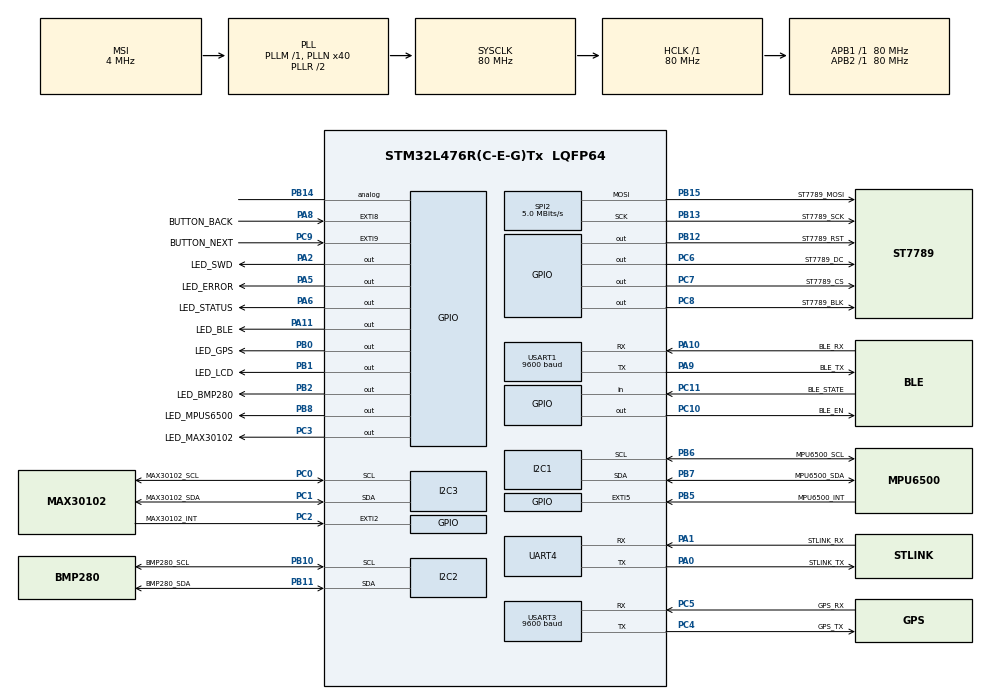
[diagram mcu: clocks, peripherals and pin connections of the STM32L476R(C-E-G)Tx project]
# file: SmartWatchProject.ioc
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Dma.Request0=USART3_RX
Dma.Request1=USART3_TX
Dma.Request2=USART1_RX
Dma.Request3=USART1_TX
Dma.Request4=SPI2_TX
Dma.SPI2_TX.4.Direction=DMA_MEMORY_TO_PERIPH
Dma.SPI2_TX.4.Instance=DMA1_Channel5
Dma.SPI2_TX.4.MemDataAlignment=DMA_MDATAALIGN_BYTE
Dma.SPI2_TX.4.MemInc=DMA_MINC_ENABLE
Dma.SPI2_TX.4.Mode=DMA_NORMAL
Dma.SPI2_TX.4.PeriphDataAlignment=DMA_PDATAALIGN_BYTE
Dma.SPI2_TX.4.PeriphInc=DMA_PINC_DISABLE
Dma.SPI2_TX.4.Priority=DMA_PRIORITY_LOW
Dma.USART1_RX.2.Direction=DMA_PERIPH_TO_MEMORY
Dma.USART1_RX.2.Instance=DMA2_Channel7
Dma.USART1_RX.2.MemDataAlignment=DMA_MDATAALIGN_BYTE
Dma.USART1_RX.2.MemInc=DMA_MINC_ENABLE
Dma.USART1_RX.2.Mode=DMA_CIRCULAR
Dma.USART1_RX.2.PeriphDataAlignment=DMA_PDATAALIGN_BYTE
Dma.USART1_RX.2.PeriphInc=DMA_PINC_DISABLE
Dma.USART1_RX.2.Priority=DMA_PRIORITY_LOW
Dma.USART1_TX.3.Direction=DMA_MEMORY_TO_PERIPH
Dma.USART1_TX.3.Instance=DMA1_Channel4
Dma.USART1_TX.3.MemDataAlignment=DMA_MDATAALIGN_BYTE
Dma.USART1_TX.3.MemInc=DMA_MINC_ENABLE
Dma.USART1_TX.3.Mode=DMA_NORMAL
Dma.USART1_TX.3.PeriphDataAlignment=DMA_PDATAALIGN_BYTE
Dma.USART1_TX.3.PeriphInc=DMA_PINC_DISABLE
Dma.USART1_TX.3.Priority=DMA_PRIORITY_LOW
Dma.USART3_RX.0.Direction=DMA_PERIPH_TO_MEMORY
Dma.USART3_RX.0.Instance=DMA1_Channel3
Dma.USART3_RX.0.MemDataAlignment=DMA_MDATAALIGN_BYTE
Dma.USART3_RX.0.MemInc=DMA_MINC_ENABLE
Dma.USART3_RX.0.Mode=DMA_NORMAL
Dma.USART3_RX.0.PeriphDataAlignment=DMA_PDATAALIGN_BYTE
Dma.USART3_RX.0.PeriphInc=DMA_PINC_DISABLE
Dma.USART3_RX.0.Priority=DMA_PRIORITY_LOW
Dma.USART3_TX.1.Direction=DMA_MEMORY_TO_PERIPH
Dma.USART3_TX.1.Instance=DMA1_Channel2
Dma.USART3_TX.1.MemDataAlignment=DMA_MDATAALIGN_BYTE
Dma.USART3_TX.1.MemInc=DMA_MINC_ENABLE
Dma.USART3_TX.1.Mode=DMA_NORMAL
Dma.USART3_TX.1.PeriphDataAlignment=DMA_PDATAALIGN_BYTE
Dma.USART3_TX.1.PeriphInc=DMA_PINC_DISABLE
Dma.USART3_TX.1.Priority=DMA_PRIORITY_LOW
I2C1.Timing=0x10D19CE4
I2C2.Timing=0x10D19CE4
I2C3.Timing=0x10D19CE4
Mcu.Family=STM32L4
Mcu.Name=STM32L476R(C-E-G)Tx
Mcu.Package=LQFP64
NVIC.DMA1_Channel2_IRQn=true\:0\:0\:false\:false\:true\:false\:true\:true
NVIC.DMA1_Channel3_IRQn=true\:0\:0\:false\:false\:true\:false\:true\:true
NVIC.DMA1_Channel4_IRQn=true\:0\:0\:false\:false\:true\:false\:true\:true
NVIC.DMA1_Channel5_IRQn=true\:0\:0\:false\:false\:true\:false\:true\:true
NVIC.DMA2_Channel7_IRQn=true\:0\:0\:false\:false\:true\:false\:true\:true
NVIC.EXTI2_IRQn=true\:0\:0\:false\:false\:true\:true\:true\:true
NVIC.EXTI9_5_IRQn=true\:0\:0\:false\:false\:true\:true\:true\:true
NVIC.PriorityGroup=NVIC_PRIORITYGROUP_4
NVIC.SPI2_IRQn=true\:0\:0\:false\:false\:true\:true\:true\:true
NVIC.USART1_IRQn=true\:0\:0\:false\:false\:true\:true\:true\:true
NVIC.USART3_IRQn=true\:0\:0\:false\:false\:true\:true\:true\:true
PA0.GPIO_Label=STLINK_TX
PA0.Mode=Asynchronous
PA0.Signal=UART4_TX
PA1.GPIO_Label=STLINK_RX
PA1.Mode=Asynchronous
PA1.Signal=UART4_RX
PA10.GPIO_Label=BLE_RX
PA10.Mode=Asynchronous
PA10.Signal=USART1_RX
PA11.GPIO_Label=LED_BLE
PA11.PinState=GPIO_PIN_RESET
PA11.Signal=GPIO_Output
PA13\ (JTMS-SWDIO).Mode=Serial_Wire
PA13\ (JTMS-SWDIO).Signal=SYS_JTMS-SWDIO
PA14\ (JTCK-SWCLK).Mode=Serial_Wire
PA14\ (JTCK-SWCLK).Signal=SYS_JTCK-SWCLK
PA2.GPIO_Label=LED_SWD
PA2.PinState=GPIO_PIN_RESET
PA2.Signal=GPIO_Output
PA5.GPIO_Label=LED_ERROR
PA5.PinState=GPIO_PIN_RESET
PA5.Signal=GPIO_Output
PA6.GPIO_Label=LED_STATUS
PA6.PinState=GPIO_PIN_RESET
PA6.Signal=GPIO_Output
PA8.GPIO_Label=BUTTON_BACK
PA8.Signal=GPXTI8
PA9.GPIO_Label=BLE_TX
PA9.Mode=Asynchronous
PA9.Signal=USART1_TX
PB0.GPIO_Label=LED_GPS
PB0.PinState=GPIO_PIN_RESET
PB0.Signal=GPIO_Output
PB1.GPIO_Label=LED_LCD
PB1.PinState=GPIO_PIN_RESET
PB1.Signal=GPIO_Output
PB10.GPIO_Label=BMP280_SCL
PB10.Mode=I2C
PB10.Signal=I2C2_SCL
PB11.GPIO_Label=BMP280_SDA
PB11.Mode=I2C
PB11.Signal=I2C2_SDA
PB12.GPIO_Label=ST7789_RST
PB12.Signal=GPIO_Output
PB13.GPIO_Label=ST7789_SCK
PB13.Mode=TX_Only_Simplex_Unidirect_Master
PB13.Signal=SPI2_SCK
PB14.Signal=GPIO_Analog
PB15.GPIO_Label=ST7789_MOSI
PB15.Mode=TX_Only_Simplex_Unidirect_Master
PB15.Signal=SPI2_MOSI
PB2.GPIO_Label=LED_BMP280
PB2.PinState=GPIO_PIN_RESET
PB2.Signal=GPIO_Output
PB5.GPIO_Label=MPU6500_INT
PB5.Signal=GPXTI5
PB6.GPIO_Label=MPU6500_SCL
PB6.Mode=I2C
PB6.Signal=I2C1_SCL
PB7.GPIO_Label=MPU6500_SDA
PB7.Mode=I2C
PB7.Signal=I2C1_SDA
PB8.GPIO_Label=LED_MPUS6500
PB8.PinState=GPIO_PIN_RESET
PB8.Signal=GPIO_Output
PC0.GPIO_Label=MAX30102_SCL
PC0.Mode=I2C
PC0.Signal=I2C3_SCL
PC1.GPIO_Label=MAX30102_SDA
PC1.Mode=I2C
PC1.Signal=I2C3_SDA
PC10.GPIO_Label=BLE_EN
PC10.GPIO_ModeDefaultOutputPP=GPIO_MODE_OUTPUT_PP
PC10.PinState=GPIO_PIN_RESET
PC10.Signal=GPIO_Output
PC11.GPIO_Label=BLE_STATE
PC11.Signal=GPIO_Input
PC2.GPIO_Label=MAX30102_INT
PC2.GPIO_ModeDefaultEXTI=GPIO_MODE_IT_FALLING
PC2.GPIO_PuPd=GPIO_PULLUP
PC2.Signal=GPXTI2
PC3.GPIO_Label=LED_MAX30102
PC3.PinState=GPIO_PIN_RESET
PC3.Signal=GPIO_Output
PC4.GPIO_Label=GPS_TX
PC4.Mode=Asynchronous
PC4.Signal=USART3_TX
PC5.GPIO_Label=GPS_RX
PC5.Mode=Asynchronous
PC5.Signal=USART3_RX
PC6.GPIO_Label=ST7789_DC
PC6.GPIO_Speed=GPIO_SPEED_FREQ_HIGH
PC6.Signal=GPIO_Output
PC7.GPIO_Label=ST7789_CS
PC7.Signal=GPIO_Output
PC8.GPIO_Label=ST7789_BLK
PC8.PinState=GPIO_PIN_RESET
PC8.Signal=GPIO_Output
PC9.GPIO_Label=BUTTON_NEXT
PC9.Signal=GPXTI9
ProjectManager.HeapSize=0x200
ProjectManager.StackSize=0x400
ProjectManager.TargetToolchain=STM32CubeIDE
RCC.ADCFreq_Value=16000000
RCC.AHBFreq_Value=80000000
RCC.APB1Freq_Value=80000000
RCC.APB1TimFreq_Value=80000000
RCC.APB2Freq_Value=80000000
RCC.APB2TimFreq_Value=80000000
RCC.CortexFreq_Value=80000000
RCC.HCLKFreq_Value=80000000
RCC.HSE_VALUE=8000000
RCC.HSI_VALUE=16000000
RCC.LSE_VALUE=32768
RCC.MSI_VALUE=4000000
RCC.PLLN=40
RCC.SYSCLKFreq_VALUE=80000000
RCC.SYSCLKSource=RCC_SYSCLKSOURCE_PLLCLK
RCC.USBFreq_Value=16000000
RCC.VCOOutputFreq_Value=160000000
SPI2.BaudRatePrescaler=SPI_BAUDRATEPRESCALER_16
SPI2.CLKPhase=SPI_PHASE_2EDGE
SPI2.CLKPolarity=SPI_POLARITY_HIGH
SPI2.CalculateBaudRate=5.0 MBits/s
SPI2.DataSize=SPI_DATASIZE_8BIT
SPI2.Direction=SPI_DIRECTION_2LINES
SPI2.Mode=SPI_MODE_MASTER
SPI2.VirtualType=VM_MASTER
USART1.BaudRate=9600
USART1.SwapParam=ADVFEATURE_SWAP_ENABLE
USART1.VirtualMode-Asynchronous=VM_ASYNC
USART3.BaudRate=9600
USART3.SwapParam=ADVFEATURE_SWAP_ENABLE
USART3.VirtualMode-Asynchronous=VM_ASYNC
board=custom

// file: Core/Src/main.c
/* USER CODE BEGIN Header */
/**
  ******************************************************************************
  * @file           : main.c
  * @brief          : Main program body
  ******************************************************************************
  * @attention
  *
  * Copyright (c) 2025 STMicroelectronics.
  * All rights reserved.
  *
  * This software is licensed under terms that can be found in the LICENSE file
  * in the root directory of this software component.
  * If no LICENSE file comes with this software, it is provided AS-IS.
  *
  ******************************************************************************
  */
/* USER CODE END Header */
#include "main.h"
#include "dma.h"
#include "i2c.h"
#include "spi.h"
#include "usart.h"
#include "gpio.h"

/* USER CODE BEGIN Includes */
#include "stm32l4xx_hal.h"
#include "bmp280.h"
#include "GNSS.h"
#include <string.h>         // For memset(), strlen(), sprintf()
#include <stdio.h>          // For printf() (if using debugging via UART)
#include <st7789.h>
#include "MPU6500_driver.h"
#include "ble_comms.h"
#include "common_defs.h"
#include "display.h"
#include "sensors.h"
#include "uart_comms.h"
#include "max30102_for_stm32_hal.h"
/* USER CODE END Includes */

/* USER CODE BEGIN PV */
float pressure, temperature, humidity;

uint16_t size;
uint8_t Data[256];

GNSS_StateHandle GNSS_Handle;

volatile uint16_t rxPos = 0;
char messageBuffer[RX_BUFFER_SIZE];
volatile uint8_t messageReady = 0;
extern uint8_t rxBuffer[RX_BUFFER_SIZE];

extern SmartWatchData_t SmartWatchData_handle;
volatile UI_Screen_State_t SmartWatchScreen_State;

max30102_t max30102;

static volatile uint32_t lastBtnTick = 0;

/* USER CODE END PV */

void SystemClock_Config(void);

/* USER CODE BEGIN 0 */
int __io_putchar(int chr)
{
	HAL_UART_Transmit(&STLINK_UART, (uint8_t*)&chr, 1, HAL_MAX_DELAY);
	return chr;
}
/* USER CODE END 0 */

int main(void)
{

  /* MCU Configuration--------------------------------------------------------*/

  /* Reset of all peripherals, Initializes the Flash interface and the Systick. */
  HAL_Init();

  /* Configure the system clock */
  SystemClock_Config();

  /* Initialize all configured peripherals */
  MX_GPIO_Init();
  MX_DMA_Init();
  MX_I2C1_Init();
  MX_I2C2_Init();
  MX_I2C3_Init();
  MX_USART3_UART_Init();
  MX_SPI2_Init();
  MX_UART4_Init();
  MX_USART1_UART_Init();
  /* USER CODE BEGIN 2 */

#ifdef BLE_TEST

  //configureHM10();
  char msg[] = "Hello from STM32!\n";
  if (BLE_Send(&BLE_UART, (uint8_t*)msg, strlen(msg), 100) != HAL_OK)
  {
      // Handle error
	  HAL_Delay(20);
  }

//  startUartReception(&BLE_UART);
#endif

#ifdef BME280
  Sensor_BMP280_init();
#endif

#ifdef GPS_TEST
	GNSS_Init(&GNSS_Handle, &GNSS_UART);
	HAL_Delay(1000);
	GNSS_LoadConfig(&GNSS_Handle);
	uint32_t Timer = HAL_GetTick();
#endif

#ifdef MPU6500_TEST

	/* WHO_AM_I read */
	uint8_t MPU6500_ReadWhoAmI(void)
	{
	    uint8_t who_am_i = 0;
	    HAL_I2C_Mem_Read(&MPU6500_I2C, MPU6500_I2C_ADDR_SHIFTED, MPU6500_RGSTR_WHO_AM_I,
	                     I2C_MEMADD_SIZE_8BIT, &who_am_i, 1, HAL_MAX_DELAY);
	    return who_am_i;
	}

	/* Read values */

    uint8_t id = MPU6500_ReadWhoAmI();
    printf("mpu6500: WHO_AM_I = 0x%02X\r\n", id);

#endif

#ifdef SCREEN_TEST
	SmartWatchScreen_State = SCREEN_CLOCK; // first screen
	Display_Init(SmartWatchScreen_State);
//	ST7789_Test();
#endif

#ifdef MAX30102_TEST
	// 7-bit I2C address of the MAX30102 is 0x57, shift left for HAL (8-bit format)
	#define MAX30102_ADDR   (0x57 << 1)

	// MAX30102 register addresses
	#define MAX30102_PART_ID_REG   0xFF

	// timeout for HAL transactions (ms)
	#define MAX30102_I2C_TIMEOUT   100

	/**
	 * @brief  Simple connection test for MAX30102
	 * @retval HAL status: HAL_OK if device responded with correct PART_ID,
	 *         HAL_ERROR otherwise (or bus error)
	 */
	HAL_StatusTypeDef MAX30102_TestConnection(void)
	{
	    uint8_t part_id = 0;
	    HAL_StatusTypeDef status;

	    // Read PART_ID register
	    status = HAL_I2C_Mem_Read(&MAX30102_I2C,
	                              MAX30102_ADDR,
	                              MAX30102_PART_ID_REG,
	                              I2C_MEMADD_SIZE_8BIT,
	                              &part_id,
	                              1,
	                              MAX30102_I2C_TIMEOUT);

	    if (status != HAL_OK) {
	        // I2C error (NACK, bus fault, etc.)
	        return status;
	    }

	    if (part_id != 0x15) {
	        // Unexpected ID
	        return HAL_ERROR;
	    }

	    // All good!
	    return HAL_OK;
	}
	HAL_StatusTypeDef Scan_I2C_Bus(void)
	{
	    HAL_StatusTypeDef status;
	    uint32_t err;
	    for (uint16_t addr = 1; addr < 128; addr++)
	    {
	        status = HAL_I2C_IsDeviceReady(&MAX30102_I2C,
	                                       addr << 1,
	                                       3,
	                                       MAX30102_I2C_TIMEOUT);
	        if (status == HAL_OK)
	        {
	            printf("I2C: device ACK at 0x%02X\r\n", addr);
	        }
	        else
	        {
	            err = HAL_I2C_GetError(&MAX30102_I2C);
	            // err == HAL_I2C_ERROR_NONE usually means NACK
	            printf("I2C: 0x%02X no ACK (err=0x%lX)\r\n", addr, err);
	        }
	        HAL_Delay(5);  // give time for UART to flush
	    }
	    return HAL_OK;
	}
//	HAL_StatusTypeDef test = MAX30102_TestConnection();
	  Scan_I2C_Bus();
	  // Initiation
	  max30102_init(&max30102, &MAX30102_I2C);
	  max30102_reset(&max30102);
	  max30102_clear_fifo(&max30102);
	  max30102_set_fifo_config(&max30102, max30102_smp_ave_8, 1, 7);

	  // Sensor settings
	  max30102_set_led_pulse_width(&max30102, max30102_pw_16_bit);
	  max30102_set_adc_resolution(&max30102, max30102_adc_4096);
	  max30102_set_sampling_rate(&max30102, max30102_sr_50);
	  max30102_set_led_current_1(&max30102, 6.2);
	  max30102_set_led_current_2(&max30102, 6.2);

	  // Enter SpO2 mode
	  max30102_set_mode(&max30102, max30102_spo2);
	  max30102_set_a_full(&max30102, 1);

	  // Initiate 1 temperature measurement
	  max30102_set_die_temp_en(&max30102, 1);
	  max30102_set_die_temp_rdy(&max30102, 1);

	  uint8_t en_reg[2] = {0};
	  max30102_read(&max30102, 0x00, en_reg, 1);

	//Enter measurement mode:
	// Enter SpO2 mode
	max30102_set_mode(&max30102, max30102_spo2);

	//Enable the required interrupts:
	// Enable FIFO_A_FULL interrupt
	max30102_set_a_full(&max30102, 1);
	// Enable die temperature measurement
	max30102_set_die_temp_en(&max30102, 1);
	// Enable DIE_TEMP_RDY interrupt
	max30102_set_die_temp_rdy(&max30102, 1);

	Sensor_MAX30102_init(50.0f);
#endif
	//init
	Sensor_SmartWatch_init(&SmartWatchData_handle);
	SmartWatchScreen_State = SCREEN_CLOCK; // first screen
	Display_Init(SmartWatchScreen_State);

  /* USER CODE END 2 */

  /* Infinite loop */
  /* USER CODE BEGIN WHILE */
  while (1)
  {
#ifdef BME280

	  	Sensor_BMP280_read_data();
		HAL_Delay(500);
#endif

#ifdef GPS_TEST
		if ((HAL_GetTick() - Timer) > 1000)
		{
			GNSS_GetUniqID(&GNSS_Handle);
			GNSS_ParseBuffer(&GNSS_Handle);
			HAL_Delay(250);
			GNSS_GetPVTData(&GNSS_Handle);
			GNSS_ParseBuffer(&GNSS_Handle);
			HAL_Delay(250);
			GNSS_SetMode(&GNSS_Handle,Wirst);
			HAL_Delay(250);
//			printf("Day: %d-%d-%d \r\n", GNSS_Handle.day, GNSS_Handle.month,GNSS_Handle.year);
//			printf("Time: %d:%d:%d \r\n", GNSS_Handle.hour, GNSS_Handle.min,GNSS_Handle.sec);
//			printf("Status of fix: %d \r\n", GNSS_Handle.fixType);
//			printf("Latitude: %f \r\n", GNSS_Handle.fLat);
//			printf("Longitude: %f \r\n",(float) GNSS_Handle.lon / 10000000.0);
//			printf("Height above ellipsoid: %d \r\n", GNSS_Handle.height);
//			printf("Height above mean sea level: %d \r\n", GNSS_Handle.hMSL);
//			printf("Ground Speed (2-D): %d \r\n", GNSS_Handle.gSpeed);
//			printf("Unique ID: %04X %04X %04X %04X %04X \n\r",
//					GNSS_Handle.uniqueID[0], GNSS_Handle.uniqueID[1],
//					GNSS_Handle.uniqueID[2], GNSS_Handle.uniqueID[3],
//					GNSS_Handle.uniqueID[4], GNSS_Handle.uniqueID[5]);
//			printf("--------------------------------------\r\n" );
			Timer = HAL_GetTick();
		}
#endif
#ifdef BLE_TEST
        if (messageReady) {
            // Process the complete message
            printf("Received complete message: %s\r\n", messageBuffer);
            messageReady = 0;
        }
#endif

#ifdef MPU6500_TEST
        Sensor_MPU6500_read_data();
		HAL_Delay(100);

#endif

#ifdef SCREEN_TEST

//	    for (int i = 0; i < 100; ++i) {
//	    	SmartWatchData_handle.pressure = 100.0f + 10.0f * (i % 5); // 100, 110, 120, 130, 140, repeat
//	    	HAL_Delay(80);
//	    }
//		SmartWatchData_handle.pressure += 1;
//		SmartWatchData_handle.heart_rate += 1;
//		SmartWatchData_handle.spo2 += 1;
		ST7789_WriteString(10, 20, "Speed Test", Font_11x18, RED, WHITE);

//	    Display_Update(SmartWatchScreen_State, &SmartWatchData_handle);
//	    HAL_Delay(20);
		//Display_EnvironnementData(30,70,&SmartWatchData_handle);
#endif

#ifdef MAX30102_TEST
	    // If interrupt flag is active
	    if (max30102_has_interrupt(&max30102))
	    {
	      // Run interrupt handler to read FIFO
	      max30102_interrupt_handler(&max30102);
//	      // after handler, your heart._ir_samples and _red_samples are updated:
//	      Sensor_MAX30102_compute(&max30102);
//	      // now you can grab
//	      uint8_t bpm  = Sensor_MAX30102_get_hr();
//	      uint8_t spO2 = Sensor_MAX30102_get_spo2();
//	      printf("hey %u %u",bpm,spO2);
	    }
#endif
	    Sensor_SmartWatch_update(&SmartWatchData_handle);
	    Sensor_SmartWatch_log(&SmartWatchData_handle);
    /* USER CODE END WHILE */

  }
}

void SystemClock_Config(void)
{
  RCC_OscInitTypeDef RCC_OscInitStruct = {0};
  RCC_ClkInitTypeDef RCC_ClkInitStruct = {0};

  /** Configure the main internal regulator output voltage
  */
  if (HAL_PWREx_ControlVoltageScaling(PWR_REGULATOR_VOLTAGE_SCALE1) != HAL_OK)
  {
    Error_Handler();
  }

  /** Initializes the RCC Oscillators according to the specified parameters
  * in the RCC_OscInitTypeDef structure.
  */
  RCC_OscInitStruct.OscillatorType = RCC_OSCILLATORTYPE_MSI;
  RCC_OscInitStruct.MSIState = RCC_MSI_ON;
  RCC_OscInitStruct.MSICalibrationValue = 0;
  RCC_OscInitStruct.MSIClockRange = RCC_MSIRANGE_6;
  RCC_OscInitStruct.PLL.PLLState = RCC_PLL_ON;
  RCC_OscInitStruct.PLL.PLLSource = RCC_PLLSOURCE_MSI;
  RCC_OscInitStruct.PLL.PLLM = 1;
  RCC_OscInitStruct.PLL.PLLN = 40;
  RCC_OscInitStruct.PLL.PLLP = RCC_PLLP_DIV7;
  RCC_OscInitStruct.PLL.PLLQ = RCC_PLLQ_DIV2;
  RCC_OscInitStruct.PLL.PLLR = RCC_PLLR_DIV2;
  if (HAL_RCC_OscConfig(&RCC_OscInitStruct) != HAL_OK)
  {
    Error_Handler();
  }

  /** Initializes the CPU, AHB and APB buses clocks
  */
  RCC_ClkInitStruct.ClockType = RCC_CLOCKTYPE_HCLK|RCC_CLOCKTYPE_SYSCLK
                              |RCC_CLOCKTYPE_PCLK1|RCC_CLOCKTYPE_PCLK2;
  RCC_ClkInitStruct.SYSCLKSource = RCC_SYSCLKSOURCE_PLLCLK;
  RCC_ClkInitStruct.AHBCLKDivider = RCC_SYSCLK_DIV1;
  RCC_ClkInitStruct.APB1CLKDivider = RCC_HCLK_DIV1;
  RCC_ClkInitStruct.APB2CLKDivider = RCC_HCLK_DIV1;

  if (HAL_RCC_ClockConfig(&RCC_ClkInitStruct, FLASH_LATENCY_4) != HAL_OK)
  {
    Error_Handler();
  }
}

/* USER CODE BEGIN 4 */
// This callback is called when idle line is detected or buffer is full
void HAL_UARTEx_RxEventCallback(UART_HandleTypeDef *huart, uint16_t Size) {
	//for BLE
    if (huart == &BLE_UART)
    {
        // Copy the data from DMA buffer to message buffer
        memcpy(messageBuffer, rxBuffer, Size);

        // Null-terminate the string
        messageBuffer[Size] = '\0';

        // Set flag for main loop
        messageReady = 1;

        HAL_UART_AbortReceive(huart);  // Stop DMA
        memset(rxBuffer, 0, sizeof(rxBuffer));  // Reset buffer

        // Restart DMA reception
        HAL_UARTEx_ReceiveToIdle_DMA(huart, rxBuffer, RX_BUFFER_SIZE);
        __HAL_DMA_DISABLE_IT(huart->hdmarx, DMA_IT_HT);
    }
}

//------------------------------------------------------------------------------
// EXTI callback (button presses and sensor interrupts)
//------------------------------------------------------------------------------
void HAL_GPIO_EXTI_Callback(uint16_t GPIO_Pin)
{
    uint32_t now = HAL_GetTick();
    static uint32_t lastBtnTick = 0;

    if (now - lastBtnTick < 50) {
        return;  // debounce
    }
    lastBtnTick = now;

    if (GPIO_Pin == BUTTON_BACK_Pin) {
        SmartWatchScreen_State = (SmartWatchScreen_State + NUM_SCREENS - 1) % NUM_SCREENS;
        SendScreenState(&STLINK_UART, SmartWatchScreen_State);
    }
    else if (GPIO_Pin == BUTTON_NEXT_Pin) {
        SmartWatchScreen_State = (SmartWatchScreen_State + 1) % NUM_SCREENS;
        SendScreenState(&STLINK_UART, SmartWatchScreen_State);
    }
    else if (GPIO_Pin == MAX30102_INT_Pin) {
        max30102_on_interrupt(&max30102);
    }
}
/* USER CODE END 4 */

void Error_Handler(void)
{
  __disable_irq();
  while (1)
  {
  }
}
